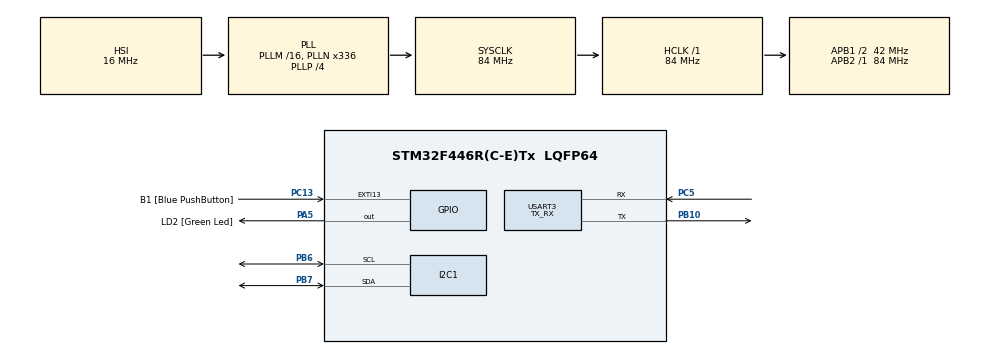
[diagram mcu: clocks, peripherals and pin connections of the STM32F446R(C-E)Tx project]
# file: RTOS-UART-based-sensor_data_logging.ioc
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FREERTOS.Tasks01=defaultTask,24,128,StartDefaultTask,Default,NULL,Dynamic,NULL,NULL
Mcu.Family=STM32F4
Mcu.Name=STM32F446R(C-E)Tx
Mcu.Package=LQFP64
NVIC.PriorityGroup=NVIC_PRIORITYGROUP_4
PA13.GPIO_Label=TMS
PA13.Mode=Serial_Wire
PA13.Signal=SYS_JTMS-SWDIO
PA14.GPIO_Label=TCK
PA14.Mode=Serial_Wire
PA14.Signal=SYS_JTCK-SWCLK
PA3.GPIO_ModeDefaultPP=GPIO_MODE_AF_PP
PA3.GPIO_PuPd=GPIO_NOPULL
PA3.GPIO_Speed=GPIO_SPEED_FREQ_VERY_HIGH
PA3.Signal=USART2_RX
PA5.GPIO_Label=LD2 [Green Led]
PA5.Signal=GPIO_Output
PB10.Mode=Asynchronous
PB10.Signal=USART3_TX
PB3.GPIO_Label=SWO
PB3.Signal=SYS_JTDO-SWO
PB6.Mode=I2C
PB6.Signal=I2C1_SCL
PB7.Mode=I2C
PB7.Signal=I2C1_SDA
PC13.GPIO_Label=B1 [Blue PushButton]
PC13.GPIO_ModeDefaultEXTI=GPIO_MODE_IT_FALLING
PC13.Signal=GPXTI13
PC14-OSC32_IN.Mode=LSE-External-Oscillator
PC14-OSC32_IN.Signal=RCC_OSC32_IN
PC15-OSC32_OUT.Mode=LSE-External-Oscillator
PC15-OSC32_OUT.Signal=RCC_OSC32_OUT
PC5.Mode=Asynchronous
PC5.Signal=USART3_RX
PH0-OSC_IN.Mode=HSE-External-Oscillator
PH0-OSC_IN.Signal=RCC_OSC_IN
PH1-OSC_OUT.Mode=HSE-External-Oscillator
PH1-OSC_OUT.Signal=RCC_OSC_OUT
ProjectManager.HeapSize=0x200
ProjectManager.StackSize=0x400
ProjectManager.TargetToolchain=STM32CubeIDE
RCC.48MHZClocksFreq_Value=84000000
RCC.AHBFreq_Value=84000000
RCC.APB1CLKDivider=RCC_HCLK_DIV2
RCC.APB1Freq_Value=42000000
RCC.APB1TimFreq_Value=84000000
RCC.APB2Freq_Value=84000000
RCC.APB2TimFreq_Value=84000000
RCC.CortexFreq_Value=84000000
RCC.FLatency-AdvancedSettings=FLASH_LATENCY_2
RCC.HCLKFreq_Value=84000000
RCC.HSE_VALUE=8000000
RCC.HSI_VALUE=16000000
RCC.PLLN=336
RCC.PLLP=RCC_PLLP_DIV4
RCC.SYSCLKFreq_VALUE=84000000
RCC.SYSCLKSource=RCC_SYSCLKSOURCE_PLLCLK
RCC.USBFreq_Value=168000000
RCC.VCOOutputFreq_Value=336000000
USART3.Mode=MODE_TX_RX
USART3.VirtualMode=VM_ASYNC
VP_FREERTOS_VS_CMSIS_V2.Mode=CMSIS_V2
VP_IWDG_VS_IWDG.Mode=IWDG_Activate
board=NUCLEO-F446RE

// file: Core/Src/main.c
/* USER CODE BEGIN Header */
/**
  ******************************************************************************
  * @file           : main.c
  * @brief          : Main program body
  ******************************************************************************
  * @attention
  *
  * Copyright (c) 2025 STMicroelectronics.
  * All rights reserved.
  *
  * This software is licensed under terms that can be found in the LICENSE file
  * in the root directory of this software component.
  * If no LICENSE file comes with this software, it is provided AS-IS.
  *
  ******************************************************************************
  */
/* USER CODE END Header */
#include "main.h"
#include "cmsis_os.h"
#include "i2c.h"
#include "iwdg.h"
#include "usart.h"
#include "gpio.h"

/* USER CODE BEGIN Includes */
#include "Sensor_Task.h"
#include "Logging_Task.h"
#include "Watchdog_Task.h"
#include "dht11_driver.h"
/* USER CODE END Includes */

/* USER CODE BEGIN PV */
osThreadId_t SensorTaskHandle, LoggingTaskHandle, WatchdogTaskHandle;
osMessageQueueId_t SensorQueueHandle, uartQueueHandle;
osMutexId_t uartMutexHandle;

/* USER CODE END PV */

void SystemClock_Config(void);
void MX_FREERTOS_Init(void);
/* USER CODE BEGIN PFP */
void StartSensorTask(void *argument);
void StartLoggingTask(void *argument);
void StartWatchdogTask(void *argument);
/* USER CODE END PFP */

/* USER CODE BEGIN 0 */
const osThreadAttr_t SensorQueueAttributes = {.name = "Sensor Queue"};
const osMessageQueueAttr_t uartQueue_attributes = { .name = "uartQueue" };
const osThreadAttr_t uartMutexAttributes = {.name = "UART Mutex"};
/* USER CODE END 0 */

int main(void)
{

  /* MCU Configuration--------------------------------------------------------*/

  /* Reset of all peripherals, Initializes the Flash interface and the Systick. */
  HAL_Init();

  /* Configure the system clock */
  SystemClock_Config();

  /* Initialize all configured peripherals */
  MX_GPIO_Init();
  MX_IWDG_Init();
  MX_USART3_UART_Init();
  MX_I2C1_Init();
  /* USER CODE BEGIN 2 */
    HAL_UART_Transmit(&huart3, (uint8_t *)"UART Test Before RTOS\r\n", 24, HAL_MAX_DELAY);
  /* USER CODE END 2 */

  /* Init scheduler */
  osKernelInitialize();

  /* Call init function for freertos objects (in cmsis_os2.c) */
  MX_FREERTOS_Init();

  /* USER CODE BEGIN RTOS_MUTEX */
     /* add mutexes, ... */
     uartMutexHandle = osMutexNew(&uartMutexAttributes);
     /* USER CODE END RTOS_MUTEX */

     /* USER CODE BEGIN RTOS_QUEUES */
     /* add queues, ... */
     SensorQueueHandle = osMessageQueueNew(10, sizeof(float), &SensorQueueAttributes);
     if (SensorQueueHandle == NULL)
     {
         HAL_UART_Transmit(&huart3, (uint8_t *)"Queue Creation Failed!\r\n", 25, HAL_MAX_DELAY);
     }
     uartQueueHandle = osMessageQueueNew(10, sizeof(char) * 50, &uartQueue_attributes);
     /* USER CODE END RTOS_QUEUES */

     /* Create the thread(s) */

     /* USER CODE BEGIN RTOS_THREADS */
     /* add threads, ... */
     const osThreadAttr_t SensorTaskAttributes = {.name = "Sensor Task",
   		  	  	  	  	  	  	  	  	  	   .stack_size = 128, .priority = osPriorityAboveNormal};

     SensorTaskHandle = osThreadNew(StartSensorTask, NULL, &SensorTaskAttributes);
     if (SensorTaskHandle == NULL)
     {
        HAL_UART_Transmit(&huart3, (uint8_t *)"Sensor Task Creation Failed!\r\n", 30, HAL_MAX_DELAY);
     }

     const osThreadAttr_t LoggingTaskAttributes = {.name = "Logging Task",
     		  	  	  	  	  	  	  	  	  	    .stack_size = 1024, .priority = osPriorityNormal};

     LoggingTaskHandle = osThreadNew(StartLoggingTask, NULL, &LoggingTaskAttributes);
     if (LoggingTaskHandle == NULL)
     {
        HAL_UART_Transmit(&huart3, (uint8_t *)"Logging Task Creation Failed!\r\n", 32, HAL_MAX_DELAY);
     }

     const osThreadAttr_t WatchdogTaskAttributes = {.name = "Watchdog Task",
       		  	  	  	  	  	  	  	  	  	 .stack_size = 128, .priority = osPriorityHigh};

     WatchdogTaskHandle = osThreadNew(StartWatchdogTask, NULL, &WatchdogTaskAttributes);
     if (WatchdogTaskHandle == NULL)
     {
        HAL_UART_Transmit(&huart3, (uint8_t *)"Logging Task Creation Failed!\r\n", 32, HAL_MAX_DELAY);
     }
     /* USER CODE END RTOS_THREADS */

  /* Start scheduler */
  osKernelStart();

  /* We should never get here as control is now taken by the scheduler */

  /* Infinite loop */
    while (1)
    {

    }
}

void SystemClock_Config(void)
{
  RCC_OscInitTypeDef RCC_OscInitStruct = {0};
  RCC_ClkInitTypeDef RCC_ClkInitStruct = {0};

  /** Configure the main internal regulator output voltage
  */
  __HAL_RCC_PWR_CLK_ENABLE();
  __HAL_PWR_VOLTAGESCALING_CONFIG(PWR_REGULATOR_VOLTAGE_SCALE3);

  /** Initializes the RCC Oscillators according to the specified parameters
  * in the RCC_OscInitTypeDef structure.
  */
  RCC_OscInitStruct.OscillatorType = RCC_OSCILLATORTYPE_HSI|RCC_OSCILLATORTYPE_LSI;
  RCC_OscInitStruct.HSIState = RCC_HSI_ON;
  RCC_OscInitStruct.HSICalibrationValue = RCC_HSICALIBRATION_DEFAULT;
  RCC_OscInitStruct.LSIState = RCC_LSI_ON;
  RCC_OscInitStruct.PLL.PLLState = RCC_PLL_ON;
  RCC_OscInitStruct.PLL.PLLSource = RCC_PLLSOURCE_HSI;
  RCC_OscInitStruct.PLL.PLLM = 16;
  RCC_OscInitStruct.PLL.PLLN = 336;
  RCC_OscInitStruct.PLL.PLLP = RCC_PLLP_DIV4;
  RCC_OscInitStruct.PLL.PLLQ = 2;
  RCC_OscInitStruct.PLL.PLLR = 2;
  if (HAL_RCC_OscConfig(&RCC_OscInitStruct) != HAL_OK)
  {
    Error_Handler();
  }

  /** Initializes the CPU, AHB and APB buses clocks
  */
  RCC_ClkInitStruct.ClockType = RCC_CLOCKTYPE_HCLK|RCC_CLOCKTYPE_SYSCLK
                              |RCC_CLOCKTYPE_PCLK1|RCC_CLOCKTYPE_PCLK2;
  RCC_ClkInitStruct.SYSCLKSource = RCC_SYSCLKSOURCE_PLLCLK;
  RCC_ClkInitStruct.AHBCLKDivider = RCC_SYSCLK_DIV1;
  RCC_ClkInitStruct.APB1CLKDivider = RCC_HCLK_DIV2;
  RCC_ClkInitStruct.APB2CLKDivider = RCC_HCLK_DIV1;

  if (HAL_RCC_ClockConfig(&RCC_ClkInitStruct, FLASH_LATENCY_2) != HAL_OK)
  {
    Error_Handler();
  }
}

void Error_Handler(void)
{
  __disable_irq();
  while (1)
  {
  }
}
